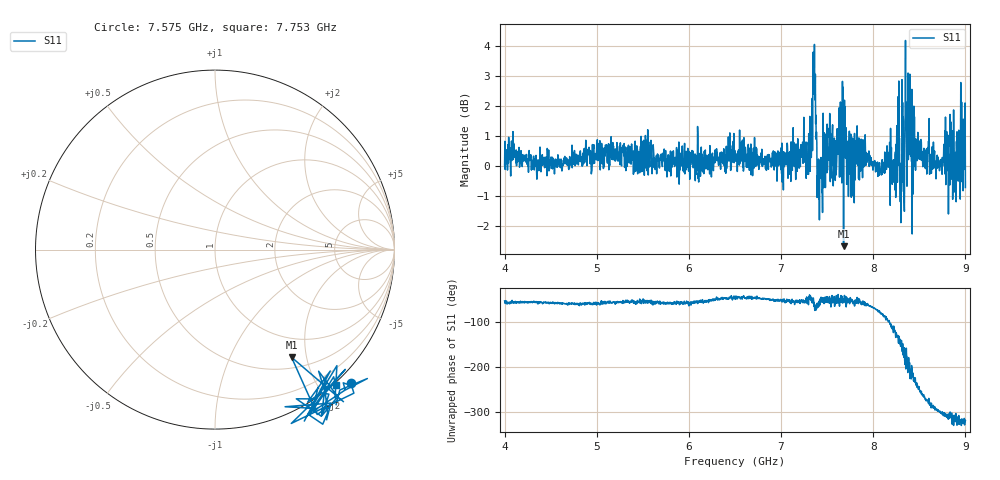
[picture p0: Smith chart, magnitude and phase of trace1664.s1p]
! Created with skrf 1.8.0 (http://scikit-rf.org).
# Hz S RI R 50.0
!freq ReS11 ImS11
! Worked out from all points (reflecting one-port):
!   1601 points, 4 GHz to 9 GHz, reference 50 ohm
!   lowest |S11| = -2.7 dB at 7.678 GHz (marker M1), VSWR 6.57, Z = 33.3 - j87.1 ohm
!   phase of S11 starts at -54 deg and turns -265 deg over the sweep
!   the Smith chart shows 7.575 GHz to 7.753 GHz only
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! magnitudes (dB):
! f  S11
! 4 GHz  0.0
! 4.625 GHz  -0.1
! 5.25 GHz  0.1
! 5.875 GHz  0.1
! 6.5 GHz  0.3
! 7.125 GHz  0.4
! 7.297 GHz  -0.3
! 7.359 GHz  2.8
! 7.4 GHz  -0.9
! 7.425 GHz  0.0
! 7.481 GHz  -0.7
! 7.588 GHz  -0.5
! 7.678 GHz  -2.7
! 7.75 GHz  -0.3
! 8.097 GHz  0.2
! 8.172 GHz  0.5
! 8.222 GHz  -0.4
! 8.262 GHz  -0.5
! 8.312 GHz  2.9
! 8.334 GHz  -1.1
! 8.347 GHz  1.6
! 8.375 GHz  1.5
! 8.447 GHz  1.6
! 8.459 GHz  -0.1
! 8.562 GHz  -0.1
! 8.9 GHz  -1.2
! 8.972 GHz  0.8
! 9 GHz  -0.7
